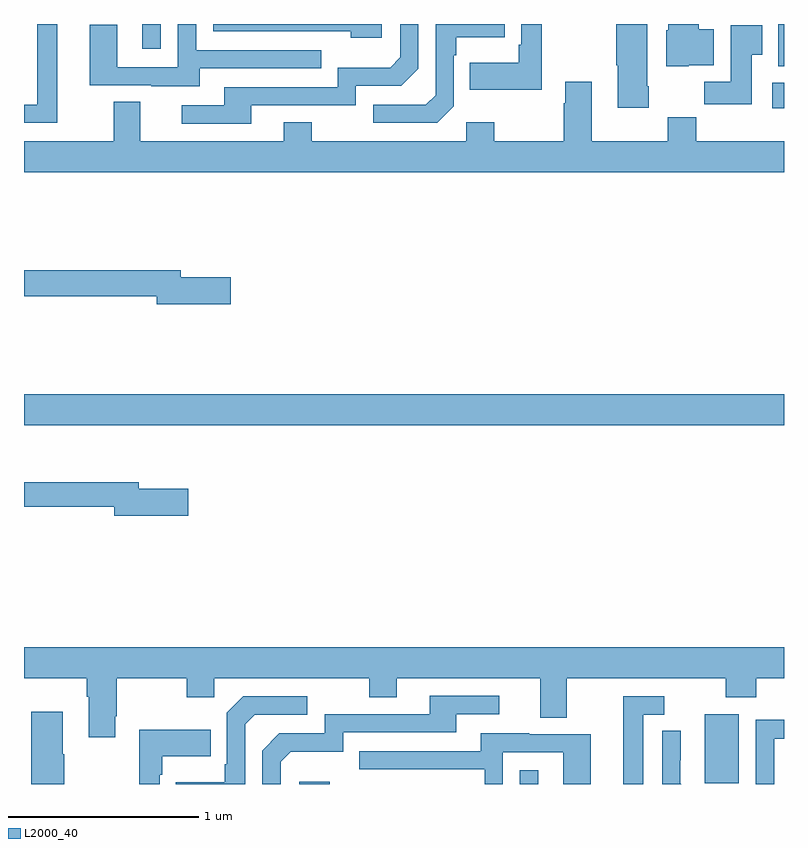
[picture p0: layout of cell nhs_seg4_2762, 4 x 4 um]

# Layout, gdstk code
import gdstk
lib = gdstk.Library(unit=1e-6, precision=1e-09)
def R(c, l, rs):  # rectangles x0, y0, x1, y1
    for r in rs: c.add(gdstk.rectangle(r[:2], r[2:], *l))
def P(c, l, *ps):  # polygons
    for p in ps: c.add(gdstk.Polygon(p, *l))
L2000_40 = (2000, 40)

nhs_seg4_2762 = lib.new_cell('nhs_seg4_2762')
R(nhs_seg4_2762, L2000_40, [(256.449,826.9,256.61,826.912), (257.61,826.9,257.707,826.972), (258.584,826.905,258.763,827.266), (255,828.788,259,828.952), (258.939,830.456,259,830.59), (258.971,830.678,259,830.9), (255.623,830.769,255.72,830.9)])
P(nhs_seg4_2762, L2000_40, [(255.925,830.667),(256.565,830.667),(256.565,830.763),(255.906,830.763),(255.906,830.9),(255.81,830.9),(255.81,830.673),(255.492,830.673),(255.492,830.897),(255.347,830.897),(255.347,830.577),(255.671,830.577),(255.671,830.573),(255.925,830.573)],
  [(255.175,830.9),(255.071,830.9),(255.071,830.475),(255,830.475),(255,830.379),(255.175,830.379)],
  [(256.882,830.9),(255.996,830.9),(255.996,830.862),(256.721,830.862),(256.721,830.828),(256.882,830.828)],
  [(257.725,830.9),(257.616,830.9),(257.616,830.791),(257.604,830.791),(257.604,830.695),(257.347,830.695),(257.347,830.555),(257.725,830.555)],
  [(258.288,830.572),(258.28,830.572),(258.28,830.9),(258.118,830.9),(258.118,830.683),(258.125,830.683),(258.125,830.46),(258.288,830.46)],
  [(258.498,830.684),(258.631,830.684),(258.631,830.872),(258.55,830.872),(258.55,830.9),(258.392,830.9),(258.392,830.868),(258.38,830.868),(258.38,830.678),(258.498,830.678)],
  [(257.262,830.466),(257.262,830.735),(257.275,830.735),(257.275,830.831),(257.531,830.831),(257.531,830.9),(257.166,830.9),(257.166,830.526),(257.115,830.475),(256.839,830.475),(256.839,830.379),(257.175,830.379)],
  [(256.195,830.472),(256.746,830.472),(256.746,830.574),(256.986,830.574),(257.076,830.664),(257.076,830.9),(256.98,830.9),(256.98,830.724),(256.927,830.671),(256.65,830.671),(256.65,830.568),(256.055,830.568),(256.055,830.472),(255.831,830.472),(255.831,830.376),(256.195,830.376)],
  [(258.829,830.737),(258.886,830.737),(258.886,830.893),(258.719,830.893),(258.719,830.596),(258.58,830.596),(258.58,830.478),(258.829,830.478)],
  [(259,830.284),(258.539,830.284),(258.539,830.408),(258.388,830.408),(258.388,830.284),(257.989,830.284),(257.989,830.596),(257.849,830.596),(257.849,830.483),(257.842,830.483),(257.842,830.284),(257.475,830.284),(257.475,830.383),(257.328,830.383),(257.328,830.284),(256.515,830.284),(256.515,830.383),(256.367,830.383),(256.367,830.284),(255.613,830.284),(255.613,830.492),(255.473,830.492),(255.473,830.284),(255,830.284),(255,830.12),(259,830.12)],
  [(256.087,829.568),(255.826,829.568),(255.826,829.604),(255,829.604),(255,829.468),(255.698,829.468),(255.698,829.426),(256.087,829.426)],
  [(255.865,828.453),(255.604,828.453),(255.604,828.487),(255,828.487),(255,828.358),(255.476,828.358),(255.476,828.311),(255.865,828.311)],
  [(255.481,827.257),(255.489,827.257),(255.489,827.456),(255.856,827.456),(255.856,827.357),(256.002,827.357),(256.002,827.456),(256.816,827.456),(256.816,827.357),(256.963,827.357),(256.963,827.456),(257.717,827.456),(257.717,827.248),(257.857,827.248),(257.857,827.456),(258.694,827.456),(258.694,827.357),(258.854,827.357),(258.854,827.456),(259,827.456),(259,827.62),(255,827.62),(255,827.456),(255.329,827.456),(255.329,827.36),(255.341,827.36),(255.341,827.145),(255.481,827.145)],
  [(256.35,827.016),(256.403,827.069),(256.68,827.069),(256.68,827.172),(257.275,827.172),(257.275,827.268),(257.5,827.268),(257.5,827.364),(257.135,827.364),(257.135,827.268),(256.584,827.268),(256.584,827.166),(256.344,827.166),(256.254,827.076),(256.254,826.9),(256.35,826.9)],
  [(256.164,827.214),(256.215,827.265),(256.492,827.265),(256.492,827.361),(256.155,827.361),(256.068,827.274),(256.068,827.005),(256.056,827.005),(256.056,826.909),(255.799,826.909),(255.799,826.9),(256.164,826.9)],
  [(258.259,827.265),(258.37,827.265),(258.37,827.361),(258.155,827.361),(258.155,826.9),(258.259,826.9)],
  [(255.213,827.057),(255.205,827.057),(255.205,827.281),(255.038,827.281),(255.038,826.9),(255.213,826.9)],
  [(258.948,827.139),(259,827.139),(259,827.238),(258.852,827.238),(258.852,826.9),(258.948,826.9)],
  [(255.714,826.949),(255.727,826.949),(255.727,827.045),(255.983,827.045),(255.983,827.185),(255.606,827.185),(255.606,826.9),(255.714,826.9)],
  [(258.455,826.904),(258.455,827.026),(258.456,827.026),(258.456,827.18),(258.36,827.18),(258.36,826.9),(258.459,826.9)],
  [(257.52,827.067),(257.838,827.067),(257.838,826.9),(257.983,826.9),(257.983,827.163),(257.659,827.163),(257.659,827.167),(257.405,827.167),(257.405,827.073),(256.765,827.073),(256.765,826.977),(257.424,826.977),(257.424,826.9),(257.52,826.9)])

lib.write_gds('nhs_seg4_2762.gds')
